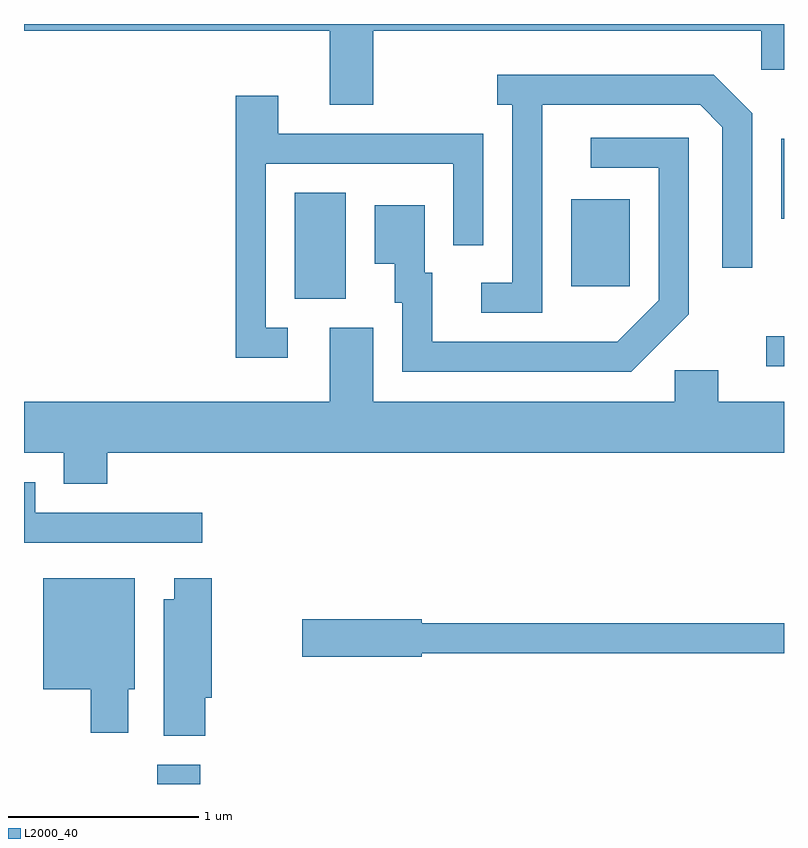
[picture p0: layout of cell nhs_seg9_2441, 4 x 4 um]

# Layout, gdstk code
import gdstk
lib = gdstk.Library(unit=1e-6, precision=1e-09)
def R(c, l, rs):  # rectangles x0, y0, x1, y1
    for r in rs: c.add(gdstk.rectangle(r[:2], r[2:], *l))
def P(c, l, *ps):  # polygons
    for p in ps: c.add(gdstk.Polygon(p, *l))
L2000_40 = (2000, 40)

nhs_seg9_2441 = lib.new_cell('nhs_seg9_2441')
R(nhs_seg9_2441, L2000_40, [(256.311,2074.432,256.539,2074.534), (259.517,2076.631,259.611,2076.789), (257.036,2076.986,257.304,2077.544), (258.491,2077.051,258.799,2077.509), (259.596,2077.406,259.611,2077.829)])
P(nhs_seg9_2441, L2000_40, [(257.449,2078.396),(259.491,2078.396),(259.491,2078.191),(259.611,2078.191),(259.611,2078.432),(255.611,2078.432),(255.611,2078.396),(257.221,2078.396),(257.221,2078.006),(257.449,2078.006)],
  [(258.339,2078.006),(259.169,2078.006),(259.286,2077.889),(259.286,2077.148),(259.444,2077.148),(259.444,2077.962),(259.242,2078.164),(258.103,2078.164),(258.103,2078.006),(258.181,2078.006),(258.181,2077.069),(258.017,2077.069),(258.017,2076.911),(258.339,2076.911)],
  [(256.998,2076.834),(256.884,2076.834),(256.884,2077.696),(257.871,2077.696),(257.871,2077.268),(258.029,2077.268),(258.029,2077.854),(256.949,2077.854),(256.949,2078.054),(256.726,2078.054),(256.726,2076.676),(256.998,2076.676)],
  [(259.109,2076.904),(259.109,2077.834),(258.593,2077.834),(258.593,2077.676),(258.951,2077.676),(258.951,2076.977),(258.734,2076.759),(257.759,2076.759),(257.759,2077.124),(257.719,2077.124),(257.719,2077.479),(257.456,2077.479),(257.456,2077.171),(257.561,2077.171),(257.561,2076.966),(257.601,2076.966),(257.601,2076.601),(258.807,2076.601)],
  [(259.611,2076.444),(259.264,2076.444),(259.264,2076.609),(259.036,2076.609),(259.036,2076.444),(257.449,2076.444),(257.449,2076.834),(257.221,2076.834),(257.221,2076.444),(255.611,2076.444),(255.611,2076.176),(255.821,2076.176),(255.821,2076.011),(256.049,2076.011),(256.049,2076.176),(259.611,2076.176)],
  [(256.548,2075.859),(255.669,2075.859),(255.669,2076.019),(255.611,2076.019),(255.611,2075.701),(256.548,2075.701)],
  [(256.564,2074.886),(256.599,2074.886),(256.599,2075.514),(256.401,2075.514),(256.401,2075.404),(256.346,2075.404),(256.346,2074.686),(256.564,2074.686)],
  [(256.159,2074.931),(256.194,2074.931),(256.194,2075.514),(255.711,2075.514),(255.711,2074.931),(255.961,2074.931),(255.961,2074.701),(256.159,2074.701)],
  [(257.704,2075.121),(259.611,2075.121),(259.611,2075.279),(257.704,2075.279),(257.704,2075.299),(257.076,2075.299),(257.076,2075.101),(257.704,2075.101)])

lib.write_gds('nhs_seg9_2441.gds')
